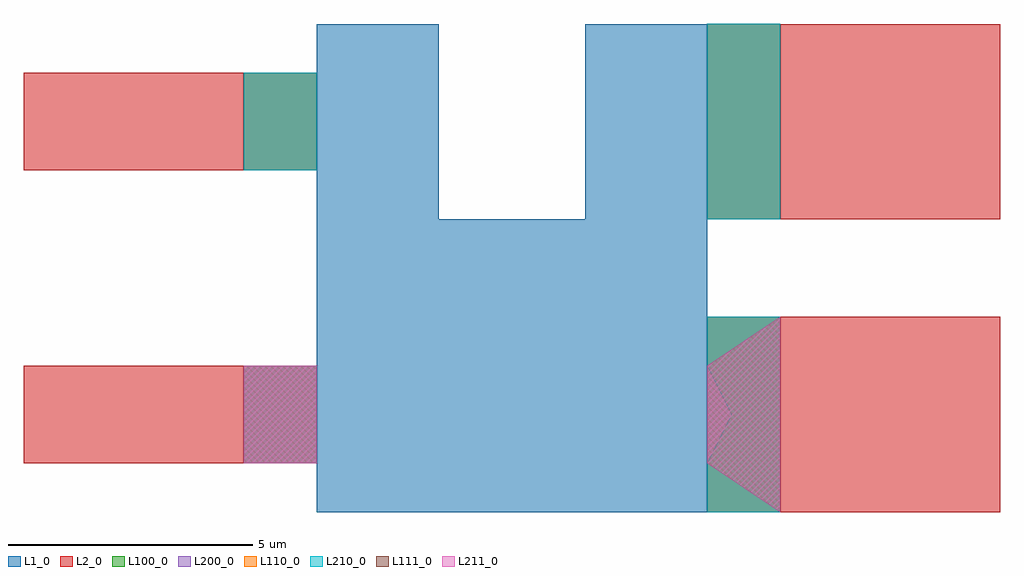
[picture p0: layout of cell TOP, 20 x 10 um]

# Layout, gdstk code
import gdstk
lib = gdstk.Library(unit=1e-6, precision=1e-09)
def R(c, l, rs):  # rectangles x0, y0, x1, y1
    for r in rs: c.add(gdstk.rectangle(r[:2], r[2:], *l))
def P(c, l, *ps):  # polygons
    for p in ps: c.add(gdstk.Polygon(p, *l))
L1_0 = (1, 0)
L2_0 = (2, 0)
L100_0 = (100, 0)
L110_0 = (110, 0)
L111_0 = (111, 0)
L200_0 = (200, 0)
L210_0 = (210, 0)
L211_0 = (211, 0)

top = lib.new_cell('TOP')
P(top, L1_0, [(6,0),(6,10),(8.5,10),(8.5,6),(11.5,6),(11.5,10),(14,10),(14,0)])
R(top, L2_0, [(15.5,0,20,4), (0,1,4.5,3), (15.5,6,20,10), (0,7,4.5,9)])
R(top, L100_0, [(13.999,-0.001,15.501,4.001), (4.499,0.999,6.001,3.001), (13.999,5.999,15.501,10.001), (4.499,6.999,6.001,9.001)])
R(top, L110_0, [(13.999,5.999,15.501,10.001), (4.499,6.999,6.001,9.001)])
P(top, L110_0, [(13.999,-0.001),(13.999,1.001),(15.501,4.001),(15.501,-0.001)],
  [(15.501,-0.001),(13.999,2.999),(13.999,4.001),(15.501,4.001)])
R(top, L111_0, [(4.499,0.999,6.001,3.001)])
P(top, L111_0, [(15.501,-0.001),(13.999,0.999),(13.999,3.001),(15.501,4.001)])
R(top, L200_0, [(13.999,-0.001,15.501,4.001), (4.499,0.999,6.001,3.001), (13.999,5.999,15.501,10.001), (4.499,6.999,6.001,9.001)])
R(top, L210_0, [(13.999,5.999,15.501,10.001), (4.499,6.999,6.001,9.001)])
P(top, L210_0, [(13.999,-0.001),(13.999,1.001),(15.501,4.001),(15.501,-0.001)],
  [(15.501,-0.001),(13.999,2.999),(13.999,4.001),(15.501,4.001)])
R(top, L211_0, [(4.499,0.999,6.001,3.001)])
P(top, L211_0, [(15.501,-0.001),(13.999,0.999),(13.999,3.001),(15.501,4.001)])

lib.write_gds('TOP.gds')
